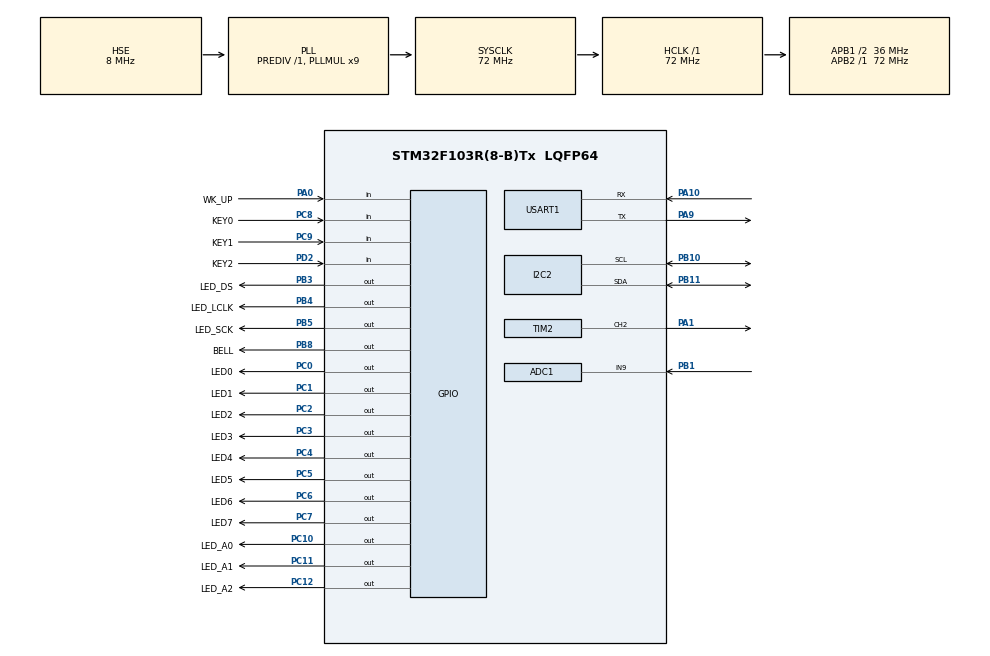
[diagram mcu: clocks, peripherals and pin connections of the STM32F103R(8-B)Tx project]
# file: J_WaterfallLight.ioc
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ADC1.Channel-2\#ChannelRegularConversion=ADC_CHANNEL_9
ADC1.NbrOfConversionFlag=1
ADC1.Rank-2\#ChannelRegularConversion=1
ADC1.SamplingTime-2\#ChannelRegularConversion=ADC_SAMPLETIME_1CYCLE_5
ADC1.master=1
Mcu.Family=STM32F1
Mcu.Name=STM32F103R(8-B)Tx
Mcu.Package=LQFP64
NVIC.PriorityGroup=NVIC_PRIORITYGROUP_4
NVIC.TIM1_UP_IRQn=true\:0\:0\:false\:false\:true\:true\:true\:true
NVIC.USART1_IRQn=true\:0\:0\:false\:false\:true\:true\:true\:true
PA0-WKUP.GPIO_Label=WK_UP
PA0-WKUP.GPIO_PuPd=GPIO_PULLDOWN
PA0-WKUP.Signal=GPIO_Input
PA1.Signal=S_TIM2_CH2
PA10.Mode=Asynchronous
PA10.Signal=USART1_RX
PA13.Mode=Serial_Wire
PA13.Signal=SYS_JTMS-SWDIO
PA14.Mode=Serial_Wire
PA14.Signal=SYS_JTCK-SWCLK
PA9.Mode=Asynchronous
PA9.Signal=USART1_TX
PB1.Signal=ADCx_IN9
PB10.Mode=I2C
PB10.Signal=I2C2_SCL
PB11.Mode=I2C
PB11.Signal=I2C2_SDA
PB3.GPIO_Label=LED_DS
PB3.Signal=GPIO_Output
PB4.GPIO_Label=LED_LCLK
PB4.Signal=GPIO_Output
PB5.GPIO_Label=LED_SCK
PB5.Signal=GPIO_Output
PB8.GPIO_Label=BELL
PB8.PinState=GPIO_PIN_SET
PB8.Signal=GPIO_Output
PC0.GPIO_Label=LED0
PC0.PinState=GPIO_PIN_SET
PC0.Signal=GPIO_Output
PC1.GPIO_Label=LED1
PC1.PinState=GPIO_PIN_SET
PC1.Signal=GPIO_Output
PC10.GPIO_Label=LED_A0
PC10.PinState=GPIO_PIN_RESET
PC10.Signal=GPIO_Output
PC11.GPIO_Label=LED_A1
PC11.Signal=GPIO_Output
PC12.GPIO_Label=LED_A2
PC12.Signal=GPIO_Output
PC2.GPIO_Label=LED2
PC2.PinState=GPIO_PIN_SET
PC2.Signal=GPIO_Output
PC3.GPIO_Label=LED3
PC3.PinState=GPIO_PIN_SET
PC3.Signal=GPIO_Output
PC4.GPIO_Label=LED4
PC4.PinState=GPIO_PIN_SET
PC4.Signal=GPIO_Output
PC5.GPIO_Label=LED5
PC5.PinState=GPIO_PIN_SET
PC5.Signal=GPIO_Output
PC6.GPIO_Label=LED6
PC6.PinState=GPIO_PIN_SET
PC6.Signal=GPIO_Output
PC7.GPIO_Label=LED7
PC7.PinState=GPIO_PIN_SET
PC7.Signal=GPIO_Output
PC8.GPIO_Label=KEY0
PC8.GPIO_PuPd=GPIO_PULLUP
PC8.Signal=GPIO_Input
PC9.GPIO_Label=KEY1
PC9.GPIO_PuPd=GPIO_PULLUP
PC9.Signal=GPIO_Input
PD0-OSC_IN.Mode=HSE-External-Oscillator
PD0-OSC_IN.Signal=RCC_OSC_IN
PD1-OSC_OUT.Mode=HSE-External-Oscillator
PD1-OSC_OUT.Signal=RCC_OSC_OUT
PD2.GPIO_Label=KEY2
PD2.GPIO_PuPd=GPIO_PULLUP
PD2.Signal=GPIO_Input
ProjectManager.HeapSize=0x200
ProjectManager.StackSize=0x400
ProjectManager.TargetToolchain=MDK-ARM V5
RCC.AHBFreq_Value=72000000
RCC.APB1CLKDivider=RCC_HCLK_DIV2
RCC.APB1Freq_Value=36000000
RCC.APB1TimFreq_Value=72000000
RCC.APB2Freq_Value=72000000
RCC.APB2TimFreq_Value=72000000
RCC.HCLKFreq_Value=72000000
RCC.PLLMUL=RCC_PLL_MUL9
RCC.PLLSourceVirtual=RCC_PLLSOURCE_HSE
RCC.SYSCLKFreq_VALUE=72000000
RCC.SYSCLKSource=RCC_SYSCLKSOURCE_PLLCLK
RCC.USBFreq_Value=72000000
SH.ADCx_IN9.0=ADC1_IN9,IN9
SH.S_TIM2_CH2.0=TIM2_CH2,PWM Generation2 CH2
TIM1.Period=1000-1
TIM1.Prescaler=72-1
TIM2.Channel-PWM\ Generation2\ CH2=TIM_CHANNEL_2
TIM2.OCMode_PWM-PWM\ Generation2\ CH2=TIM_OCMODE_PWM1
TIM2.Period=20000-1
TIM2.Prescaler=72-1
USART1.VirtualMode=VM_ASYNC
VP_TIM1_VS_ClockSourceINT.Mode=Internal
VP_TIM2_VS_ClockSourceINT.Mode=Internal
board=custom

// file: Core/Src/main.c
/* USER CODE BEGIN Header */
/**
  ******************************************************************************
  * @file           : main.c
  * @brief          : Main program body
  ******************************************************************************
  * @attention
  *
  * Copyright (c) 2023 STMicroelectronics.
  * All rights reserved.
  *
  * This software is licensed under terms that can be found in the LICENSE file
  * in the root directory of this software component.
  * If no LICENSE file comes with this software, it is provided AS-IS.
  *
  ******************************************************************************
V09、OLED显示，jinxd，230707
	1、OLED显示采集电压；
	2、每秒采集一次；
	3、OLED的刷新比较花时间！

V08、ADC转换-电位器RV1调压值，jinxd，230706
	1、启动AD后，采用查询方式获取AD值，并转换成电压；
	2、通过串口发送电压值：ADC value =1.415V
	3、数码管显示电压值；

V07、串口通信-中断方式接收一帧数据，jinxd，230705
	1、使用Uart1，端口PA9，PA10；
	2、AT指令接收与解析：
		AT，通信测试；
		AT+RUN=0/1，流水灯运行控制；
		AT+GAP=20/90，速度参数传输。

V06、串口通信，jinxd，230705
	1、使用Uart1，端口PA9，PA10；
	2、查询方式发送“Hello world!\n\r”

V05、PWM输出，jinxd，230704
	1、TIM2-CH2输出PWM信号，PA1；
	2、周期20ms，脉宽0.5-2.5ms。通过KEY1，KEYUP调节；
	3、数码管显示脉宽，单位为0.1ms；
	3、可直接驱动舵机。

V04、数码管显示时间，jinxd，230702
	1、KEY0，控制正计数还是倒计数；
	2、KEY2，控制运行/暂停；

V03、按键控制流水灯，jinxd，230702
	1、KEY0，控制正反向转动；
	2、KEY1，速度递减；KEY_UP，控制速度增加；
	3、KEY3，控制运行/停止

V02、按键扫描，jinxd，230702
	1、采用定时中断的10ms触发扫描
	2、每个按键对应LED灯的翻转

V01、流水灯，jinxd，230702
	1、改用定时中断方式，定时1ms
	2、采用标志用于周期级与基本级之间的参数传递

V00、流水灯，jinxd，230702
	1、实现流水灯
	2、采用延时函数
	4、可改变流水灯的速度

  ******************************************************************************
  */

/* USER CODE END Header */
#include "main.h"
#include "adc.h"
#include "i2c.h"
#include "tim.h"
#include "usart.h"
#include "gpio.h"
#include "OLED12864.h"
#include "codetab.h"

/* USER CODE BEGIN Includes */
#include <stdio.h>
/* USER CODE END Includes */

void SystemClock_Config(void);
/* USER CODE BEGIN PFP */

uint8_t KEY_Scan(uint8_t mode);
void	Tone(uint16_t DelayV);
void LED_Write_Data(uint8_t duan,uint8_t wei);
void LED_Refresh(void);
uint8_t	Compare_string(char *s);

/* USER CODE END PFP */

/* USER CODE BEGIN 0 */

	uint8_t flag_1=0;			//流水灯定时标志
	uint8_t	flag_KS =0;			//按键扫描标志
	uint8_t	flag_WLRun =0;		//流水灯运行标志
	uint8_t	flag_Forward =0;	//流水灯方向标志
	uint8_t	flag_DSP =0;		//数码管显示处理，每5ms进行
	uint8_t	uartRx_flag =0;		//串口接收标志
	uint8_t	RxTimeOut_flag =0;	//Uart接收超时标志
	uint8_t	ADC_flag=0;			//ADC转换标志
	uint8_t	OLEDFlash_flag=0;	//OLED刷新标志

	uint16_t CountTimer =0;
	uint16_t CountTimer10ms =0;
	uint8_t	KeyV =0;			//取得键值
	uint16_t Delayms_V =50;
	uint8_t	LedState =0;
	uint8_t	LedTemp =0;

	uint8_t smg_wei=0;//数码管位选
	uint8_t smg_duan=0;//数码管段选
	uint16_t t=0;
	uint8_t	DSPBuff[8] ={16,16,16,16,16,6,7,8};	//数码管显存
	//共阴数字数组
	//分别是：0,1,2,3,4,5,6,7,8,9,A,B,C,D,E,F,.,全灭；每个num包含8位
	uint8_t smg_num[]={0xfc,0x60,0xda,0xf2,0x66,0xb6,0xbe,0xe0,0xfe,
	0xf6,0xee,0x3e,0x9c,0x7a,0x9e,0x8e,0x02,0x00};
	uint8_t	Time10ms=0,TimeS=0,TimeM=0;		//计时器

	uint16_t pwm_val =0;

	uint8_t	TxBuf[16];
	uint8_t RxByte;
	uint8_t	RxBuf[32];
	uint8_t	RxCount =0;
	uint8_t	RxLen =0;
	uint8_t	RxTimeOutCount =5;

	uint16_t	ADCValue;

/* USER CODE END 0 */

int main(void)
{
  /* USER CODE BEGIN 1 */
//	uint8_t	TxBuf[] ="Usart Test\r\n";
	uint8_t	i;

  /* USER CODE END 1 */

  /* MCU Configuration--------------------------------------------------------*/

  /* Reset of all peripherals, Initializes the Flash interface and the Systick. */
  HAL_Init();

  /* Configure the system clock */
  SystemClock_Config();

  /* Initialize all configured peripherals */
  MX_GPIO_Init();
  MX_TIM1_Init();
  MX_TIM2_Init();
  MX_USART1_UART_Init();
  MX_ADC1_Init();
  MX_I2C2_Init();
  /* USER CODE BEGIN 2 */
  HAL_TIM_PWM_Start(&htim2,TIM_CHANNEL_2);
  HAL_TIM_Base_Start_IT(&htim1);

  HAL_UART_Receive_IT(&huart1,&RxByte,1);

  	OLED_Init();
	OLED_P8x16Char(0,0,'K');
	OLED_P16X32Str(0,0,"Voltag=");
	OLED_P16X32Str(0,4,"  xxxxmV");
//	HAL_Delay(2000);
	OLED_DisplayTurn(0);
//	HAL_Delay(2000);
//	Draw_BMP(30,0,32,32,peiqi32X32);
//	HAL_Delay(2000);
	OLED_ColorTurn(0);

  /* USER CODE END 2 */

  /* Infinite loop */
  /* USER CODE BEGIN WHILE */
  while (1)
  {

	  if(OLEDFlash_flag)
	  {
		OLEDFlash_flag =0;
		  //sprintf(TxBuf,"%02d:%02d:%02d",time[0],time[1],time[2]++);
		OLED_P16X32Str(32,4,(uint8_t *)TxBuf);
		//OLED_P6x8Str(0,7,(uint8_t *)TxBuf);
	  }
//---------------------------------------------------------AD转换处理处理
	  if(ADC_flag)
	{
	  	ADC_flag =0;
		HAL_ADC_Start(&hadc1);							//启动ADC转换
		HAL_ADC_PollForConversion(&hadc1,10);			//等待转换完成
		ADCValue = HAL_ADC_GetValue(&hadc1);			//获取转换值
		//printf("ADC value = %4d\r\n",ADCValue);		//打印输出
		HAL_UART_Transmit(&huart1,(uint8_t *)"ADC value =", 11, 11);

		ADCValue =ADCValue*3300/4095;					//AD值转换为电压值

		TxBuf[0] =((ADCValue/1000) %10) +0x30;			//串口发送电压值
		TxBuf[1] ='.';
		TxBuf[2] =((ADCValue/100) %10) +0x30;
		TxBuf[3] =((ADCValue/10) %10) +0x30;
		TxBuf[4] =((ADCValue) %10) +0x30;
		HAL_UART_Transmit(&huart1,TxBuf,5, 5);
		HAL_UART_Transmit(&huart1,(uint8_t *)"V\r\n", 3, 3);

		DSPBuff[4] =(ADCValue/1000) %10;				//数码管显示电压值
		DSPBuff[5] =(ADCValue/100) %10;
		DSPBuff[6] =(ADCValue/10) %10;
		DSPBuff[7] =ADCValue %10;

	}

//---------------------------------------------------------串口接收处理
	if(uartRx_flag)
	{
	uartRx_flag =0;
		if((Compare_string("AT"))&&(RxLen ==2))					//通信测试
		{
		HAL_UART_Transmit(&huart1,(uint8_t *)"OK\r\n", 4, 4);
		//printf("AT");
		}
		else if(Compare_string("AT+RUN="))						//运行控制
			flag_WLRun =RxBuf[7] -0x30;

			else if(Compare_string("AT+GAP="))					//参数传递
		Delayms_V =(RxBuf[7] -0x30)*10+(RxBuf[8] -0x30);

		Tone(50);

		for (i = 0; i < 32; ++i)								//清除缓冲区
			{
			RxBuf[i] =0;
			}
	}

//---------------------------------------------------------流水灯处理
	if (flag_1)
	{
		flag_1 = 0;
		if (flag_WLRun)
			{
			LedState++;
			LedState &= 0x07;			//限定状态范围
			if (flag_Forward)
				{
				LedTemp =1;
				LedTemp =LedTemp << LedState;	//依据状态确定点灯的位置
				}
			else
				{
				LedTemp =0x80;
				LedTemp =LedTemp >> LedState;
				}
			HAL_GPIO_WritePin(GPIOC,0xff,GPIO_PIN_SET);			//清除灯
			HAL_GPIO_WritePin(GPIOC,LedTemp,GPIO_PIN_RESET);	//点灯
			}
	}

	//---------------------------------------------------------按键处理
	if (flag_KS)
		{
		__HAL_TIM_SET_COMPARE(&htim2,TIM_CHANNEL_2,500 +pwm_val);

		//HAL_UART_Transmit(&huart1,(uint8_t *)"Hello world!\r\n", 14, 14);	//查询方式发送
		//HAL_UART_Transmit(&huart1,TxBuf,12, 10);

		//HAL_UART_Transmit_IT(&huart1,(uint8_t *)"Hello world!\r\n", 14);
		//HAL_Delay(5);
		//HAL_UART_Transmit_IT(&huart1,TxBuf,12);

		KeyV = KEY_Scan(0);				//按键扫描
		 switch (KeyV)
        {
            case KEY0_PRES://KEY0
            Tone(50);
			flag_Forward ++;
			flag_Forward &=0x01;
			pwm_val =0;
				break;

            case KEY1_PRES://KEY1
            Tone(50);
			if (Delayms_V < 200)
				{
				Delayms_V +=5;
				}

			if (pwm_val >=100)		//减小PWM脉宽
				{
				pwm_val -=100;
				}
                break;

            case WKUP_PRES://控制BEEP
            Tone(50);
			if (Delayms_V > 5)
				{
				Delayms_V -=5;
				}

			if (pwm_val <=1900)		//增大PWM脉宽
				{
				pwm_val +=100;
				}
            break;

            case KEY2_PRES://KEY_UP
            Tone(50);
			flag_WLRun ++;
			flag_WLRun &=0x01;
			pwm_val =2000;
                break;

            default:
				break;

        }

		}

	//---------------------------------------------------------显示处理
	if (flag_DSP)
		{
		flag_DSP =0;

		smg_wei++;
		smg_wei &=0x07;
		//if(smg_wei==8) smg_wei=0;

		smg_duan =DSPBuff[smg_wei];
		LED_Write_Data(smg_num[smg_duan],smg_wei);//数码管显示
		LED_Refresh();//刷新显示

		if (smg_wei ==7)
			{
/*			DSPBuff[0] =TimeM /10;
			DSPBuff[1] =TimeM %10;

			DSPBuff[3] =TimeS /10;
			DSPBuff[4] =TimeS %10;

			DSPBuff[6] =Time10ms /10;
			DSPBuff[7] =Time10ms %10;
*/

/*			DSPBuff[7] =((pwm_val+500)/100) %10;
			DSPBuff[6] =((pwm_val+500)/1000) %10;
			DSPBuff[5] =((pwm_val+500)/10000) %10;
*/
			}
		}

    /* USER CODE END WHILE */

  }
}

void SystemClock_Config(void)
{
  RCC_OscInitTypeDef RCC_OscInitStruct = {0};
  RCC_ClkInitTypeDef RCC_ClkInitStruct = {0};
  RCC_PeriphCLKInitTypeDef PeriphClkInit = {0};

  /** Initializes the RCC Oscillators according to the specified parameters
  * in the RCC_OscInitTypeDef structure.
  */
  RCC_OscInitStruct.OscillatorType = RCC_OSCILLATORTYPE_HSE;
  RCC_OscInitStruct.HSEState = RCC_HSE_ON;
  RCC_OscInitStruct.HSEPredivValue = RCC_HSE_PREDIV_DIV1;
  RCC_OscInitStruct.HSIState = RCC_HSI_ON;
  RCC_OscInitStruct.PLL.PLLState = RCC_PLL_ON;
  RCC_OscInitStruct.PLL.PLLSource = RCC_PLLSOURCE_HSE;
  RCC_OscInitStruct.PLL.PLLMUL = RCC_PLL_MUL9;
  if (HAL_RCC_OscConfig(&RCC_OscInitStruct) != HAL_OK)
  {
    Error_Handler();
  }

  /** Initializes the CPU, AHB and APB buses clocks
  */
  RCC_ClkInitStruct.ClockType = RCC_CLOCKTYPE_HCLK|RCC_CLOCKTYPE_SYSCLK
                              |RCC_CLOCKTYPE_PCLK1|RCC_CLOCKTYPE_PCLK2;
  RCC_ClkInitStruct.SYSCLKSource = RCC_SYSCLKSOURCE_PLLCLK;
  RCC_ClkInitStruct.AHBCLKDivider = RCC_SYSCLK_DIV1;
  RCC_ClkInitStruct.APB1CLKDivider = RCC_HCLK_DIV2;
  RCC_ClkInitStruct.APB2CLKDivider = RCC_HCLK_DIV1;

  if (HAL_RCC_ClockConfig(&RCC_ClkInitStruct, FLASH_LATENCY_2) != HAL_OK)
  {
    Error_Handler();
  }
  PeriphClkInit.PeriphClockSelection = RCC_PERIPHCLK_ADC;
  PeriphClkInit.AdcClockSelection = RCC_ADCPCLK2_DIV2;
  if (HAL_RCCEx_PeriphCLKConfig(&PeriphClkInit) != HAL_OK)
  {
    Error_Handler();
  }
}

/* USER CODE BEGIN 4 */

int fputc(int ch, FILE *f)
{
  HAL_UART_Transmit(&huart1, (uint8_t *)&ch,1,10);
  return ch;
}

uint8_t	Compare_string(char *s)
{
	uint8_t	i=0;
//	Equ_flag =1;
	while (*s)
	{
		if (RxBuf[i++] != *s++)
		{
			//Equ_flag =0;
			return 0;
		}
	}
	return 1;
}

//---------------------------------------------------------中断处理程序
void HAL_UART_RxCpltCallback(UART_HandleTypeDef *huart)
{
	if(huart ==&huart1)
	{
		//uartRx_flag =1;
		RxBuf[RxCount] =RxByte;
		RxCount++;
		RxTimeOutCount =5;
/*
		if (RxTimeOut_flag)
			{
			RxLen =RxCount;
			}
*/
		HAL_UART_Receive_IT(&huart1,&RxByte,1);
	}
}

//-----------------------------------------------------------单音信号
void	Tone(uint16_t DelayV)
{
	HAL_GPIO_WritePin(BELL_GPIO_Port,BELL_Pin,GPIO_PIN_RESET);
	HAL_Delay(DelayV);
	HAL_GPIO_WritePin(BELL_GPIO_Port,BELL_Pin,GPIO_PIN_SET);
}

//-----------------------------------------------------------TIM1中断回调函数
void HAL_TIM_PeriodElapsedCallback(TIM_HandleTypeDef *htim)
{
	if(htim->Instance ==TIM1)
	{

	if (RxTimeOutCount !=0)			//判断Rx超时？
	{
		RxTimeOutCount --;
		if (RxTimeOutCount ==0)
			{
			uartRx_flag =1;
			RxLen =RxCount;
			RxCount =0;
			}

	}

//	  flag_1 = 1;
	CountTimer ++;
	CountTimer10ms ++;

	  if(CountTimer > Delayms_V)	//"Delayms_V",置流水灯刷新标志
	  {
	  	flag_1 = 1;
		CountTimer = 0;
	  }

	  if (CountTimer10ms >9)		//10ms，置按键扫描标志
		  {
		  CountTimer10ms =0;
		  flag_KS =1;

			if(flag_Forward)
				{
				Time10ms --;
				if (Time10ms ==50)
					{
					ADC_flag=1;				//ADC标志
					//DSPBuff[2] =17;		//显示“   ”
					//DSPBuff[5] =17;
					}

				if (Time10ms ==255)
					{
					Time10ms =99;

					//DSPBuff[2] =16;		//显示“-”
					//DSPBuff[5] =16;

					TimeS --;			//秒表计时
					OLEDFlash_flag =1;	//OLED每秒刷新一次

					if (TimeS ==255)
						{
						TimeS =59;
						TimeM --;			//秒表计时
						if (TimeM ==255)
							{
							TimeM =59;
							}
						}
					}
				}			//秒表计时
			else
				{
				Time10ms ++;
				if (Time10ms ==50)
					{
					ADC_flag=1;				//ADC标志
					//DSPBuff[2] =17; 	//显示“   ”
					//DSPBuff[5] =17;
					}

				if (Time10ms >99)
					{
					Time10ms =0;

					//DSPBuff[2] =16; 	//显示“-”
					//DSPBuff[5] =16;

					TimeS ++;			//秒表计时
					OLEDFlash_flag =1;	//OLED每秒刷新一次
					if (TimeS >59)
						{
						TimeS =0;

						TimeM ++;			//秒表计时
						if (TimeM >59)
							{
							TimeM =0;
							}
						}

					}
				}
	  }

	if (CountTimer10ms & 0x01)	//2ms，置数码显示处理标志
		{
		flag_DSP =1;
		}

	}

}

//-----------------------------------------------------------按键处理函数
//返回按键值
//mode：0,不支持连续按;1,支持连续按;
//返回值：//0，没有任何按键按下//KEY0_PRES，KEY0按下//KEY1_PRES，KEY1按下//KEY2_PRES，KEY2按下//WKUP_PRES，WK_UP按下
//注意此函数有响应优先级,KEY0>KEY1>KEY2>WK_UP!!
uint8_t KEY_Scan(uint8_t mode)
{
	static uint8_t key_up=1;//按键按松开标志
	if(mode)key_up=1;  //支持连按

	if (key_up)
	{					//有按键按下？
		if(KEY0 ==0)
		{
			key_up=0;
			return KEY0_PRES;
		}
		else if(KEY1 ==0)
		{
			key_up=0;
			return KEY1_PRES;
		}
		else if(KEY2 ==0)
		{
			key_up=0;
			return KEY2_PRES;
		}
		else if(WK_UP ==1)
		{
			key_up=0;
			return WKUP_PRES;
		}
	}
	else if(KEY0==1 && KEY1==1 && KEY2==1 && WK_UP==0) key_up=1;	//检查是否所有按键弹起？
		return 0;

}

//-----------------------------------------------------------数码管显示处理函数
void HAL_Delay_us(uint16_t us)
{
	uint16_t	Temp;

	if (us--)
		{
			for (Temp = 0; Temp < 72; ++Temp)
			{
			}
		}
}

//74HC138 驱动
//数码管位选
//num:要显示的数码管编号 0-7(共 8 个数码管)
void LED_Wei(uint8_t num)
{
 	HAL_GPIO_WritePin(LED_A0_GPIO_Port,LED_A0_Pin,(GPIO_PinState)(num&0x01));
	HAL_GPIO_WritePin(LED_A1_GPIO_Port,LED_A1_Pin,(GPIO_PinState)((num&0x02)>>1));
	HAL_GPIO_WritePin(LED_A2_GPIO_Port,LED_A2_Pin,(GPIO_PinState)((num&0x04)>>2));
}

//74HC595 驱动
//数码管显示
//duan:显示的段码
//wei:要显示的数码管编号 0-7(共 8 个数码管)
void LED_Write_Data(uint8_t duan,uint8_t wei)
{
uint8_t i;
for( i=0;i<8;i++)//先送段
{
	HAL_GPIO_WritePin(LED_DS_GPIO_Port,LED_DS_Pin,(GPIO_PinState)((duan>>i)&0x01));
	HAL_GPIO_WritePin(LED_SCK_GPIO_Port,LED_SCK_Pin,GPIO_PIN_RESET);
	HAL_Delay_us(5);
	HAL_GPIO_WritePin(LED_SCK_GPIO_Port,LED_SCK_Pin,GPIO_PIN_SET);
}
 LED_Wei(wei);//后选中位
}

//74HC595 驱动
//数码管刷新显示
void LED_Refresh(void)
{
	HAL_GPIO_WritePin(LED_LCLK_GPIO_Port,LED_LCLK_Pin,GPIO_PIN_SET);
	HAL_Delay_us(5);
	HAL_GPIO_WritePin(LED_LCLK_GPIO_Port,LED_LCLK_Pin,GPIO_PIN_RESET);
}

/* USER CODE END 4 */

void Error_Handler(void)
{
  __disable_irq();
  while (1)
  {
  }
}
